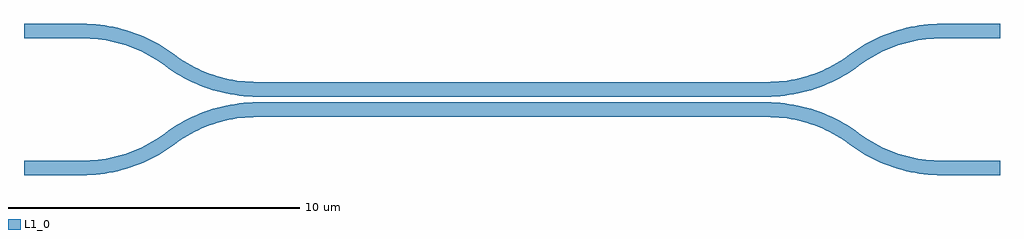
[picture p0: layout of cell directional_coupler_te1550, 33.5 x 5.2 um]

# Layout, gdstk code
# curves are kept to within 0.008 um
import gdstk
lib = gdstk.Library(unit=1e-6, precision=1e-09)
def R(c, l, rs):  # rectangles x0, y0, x1, y1
    for r in rs: c.add(gdstk.rectangle(r[:2], r[2:], *l))
def P(c, l, *ps):  # polygons
    for p in ps: c.add(gdstk.Polygon(p, *l))
L1_0 = (1, 0)

directional_coupler_te15 = lib.new_cell('directional_coupler_te1550')
R(directional_coupler_te15, L1_0, [(-16.75,-2.6,-14.75,-2.1), (14.75,-2.6,16.75,-2.1), (-16.75,2.1,-14.75,2.6), (14.75,2.1,16.75,2.6)])
P(directional_coupler_te15, L1_0, [(-14.75,-2.6),(-14.75,-2.1),(-14.334,-2.082),(-13.921,-2.027),(-13.649,-1.971),(-13.248,-1.856),(-12.859,-1.707),(-12.484,-1.525),(-12.127,-1.31),(-11.649,-0.973),(-11.388,-0.811),(-10.98,-0.597),(-10.699,-0.475),(-10.264,-0.323),(-9.817,-0.21),(-9.363,-0.136),(-8.904,-0.102),(8.75,-0.1),(9.21,-0.12),(9.515,-0.156),(9.967,-0.243),(10.41,-0.369),(10.84,-0.534),(11.254,-0.736),(11.52,-0.89),(12.127,-1.31),(12.484,-1.525),(12.732,-1.65),(13.117,-1.81),(13.514,-1.936),(13.921,-2.027),(14.334,-2.082),(14.75,-2.1),(14.75,-2.6),(14.29,-2.58),(13.985,-2.544),(13.683,-2.49),(13.384,-2.419),(13.09,-2.331),(12.801,-2.225),(12.382,-2.035),(11.98,-1.81),(11.373,-1.39),(11.137,-1.243),(10.768,-1.05),(10.513,-0.939),(10.12,-0.802),(9.851,-0.729),(9.442,-0.651),(9.028,-0.608),(-8.889,-0.602),(-9.304,-0.632),(-9.716,-0.699),(-10.12,-0.802),(-10.513,-0.939),(-10.768,-1.05),(-11.137,-1.243),(-11.373,-1.39),(-11.851,-1.727),(-12.246,-1.964),(-12.66,-2.166),(-13.09,-2.331),(-13.533,-2.457),(-13.985,-2.544),(-14.29,-2.58)],
  [(-8.75,0.1),(-9.21,0.12),(-9.515,0.156),(-9.967,0.243),(-10.41,0.369),(-10.84,0.534),(-11.254,0.736),(-11.649,0.973),(-12.127,1.31),(-12.363,1.457),(-12.732,1.65),(-12.987,1.761),(-13.38,1.898),(-13.649,1.971),(-13.921,2.027),(-14.334,2.082),(-14.75,2.1),(-14.75,2.6),(-14.29,2.58),(-13.985,2.544),(-13.533,2.457),(-13.09,2.331),(-12.66,2.166),(-12.246,1.964),(-11.851,1.727),(-11.373,1.39),(-11.137,1.243),(-10.768,1.05),(-10.513,0.939),(-10.12,0.802),(-9.716,0.699),(-9.304,0.632),(-9.028,0.608),(-8.75,0.6),(8.75,0.6),(9.166,0.618),(9.579,0.673),(9.851,0.729),(10.252,0.844),(10.641,0.993),(10.893,1.111),(11.137,1.243),(11.373,1.39),(11.851,1.727),(12.246,1.964),(12.52,2.103),(12.945,2.28),(13.384,2.419),(13.833,2.519),(14.29,2.58),(14.75,2.6),(14.75,2.1),(14.334,2.082),(13.921,2.027),(13.514,1.936),(13.117,1.81),(12.732,1.65),(12.484,1.525),(12.127,1.31),(11.52,0.89),(11.254,0.736),(10.84,0.534),(10.41,0.369),(10.116,0.281),(9.667,0.181),(9.363,0.136),(9.057,0.109),(8.75,0.1)])

lib.write_gds('directional_coupler_te1550.gds')
